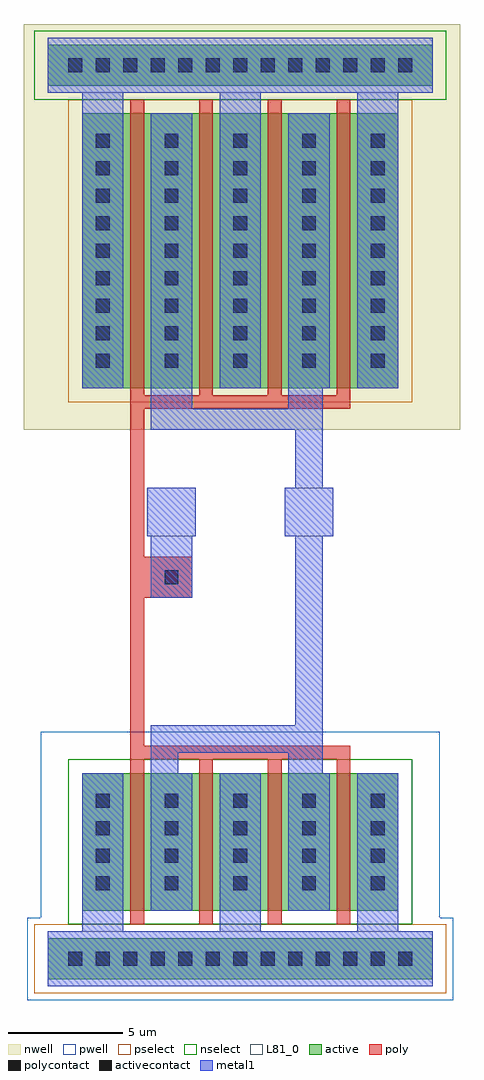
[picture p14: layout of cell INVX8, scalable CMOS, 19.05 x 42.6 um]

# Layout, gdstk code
import gdstk
lib = gdstk.Library(unit=1e-6, precision=1e-09)
def R(c, l, rs):  # rectangles x0, y0, x1, y1
    for r in rs: c.add(gdstk.rectangle(r[:2], r[2:], *l))
def A(c, l, x, y, w, h, nx, ny, dx, dy):  # array of equal rectangles
    R(c, l, [(x+i*dx, y+j*dy, x+i*dx+w, y+j*dy+h) for i in range(nx) for j in range(ny)])
pwell = (41, 0)
nwell = (42, 0)
active = (43, 0)
pselect = (44, 0)
nselect = (45, 0)
poly = (46, 0)
polycontact = (47, 0)
activecontact = (48, 0)
metal1 = (49, 0)
L81_0 = (81, 0)

invx8 = lib.new_cell('INVX8')
R(invx8, pwell, [(-1.8,-1.8,16.8,1.8), (-1.2,1.8,16.2,9.9)])
R(invx8, nwell, [(-1.95,23.1,17.1,40.8)])
R(invx8, active, [(-0.9,-0.9,15.9,0.9), (0.6,2.1,14.4,8.1), (0.6,24.9,14.4,36.9), (-0.9,38.1,15.9,39.9)])
R(invx8, pselect, [(-1.5,-1.5,16.5,1.5), (0,24.3,15,37.5)])
R(invx8, nselect, [(0,1.5,15,8.7), (-1.5,37.5,16.5,40.5)])
A(invx8, poly, 2.7, 1.5, 0.6, 7.2, 4, 1, 3, 0)
A(invx8, poly, 2.7, 24.6, 0.6, 12.9, 4, 1, 3, 0)
R(invx8, poly, [(2.7,8.7,12.3,9.3), (2.7,9.3,3.3,15.75), (2.7,15.75,5.4,17.55), (2.7,17.55,3.3,24), (2.7,24,12.3,24.6)])
R(invx8, polycontact, [(4.2,16.35,4.8,16.95)])
A(invx8, activecontact, 0, -0.3, 0.6, 0.6, 13, 2, 1.2, 39)
A(invx8, activecontact, 1.2, 3, 0.6, 0.6, 5, 4, 3, 1.2)
A(invx8, activecontact, 1.2, 25.8, 0.6, 0.6, 5, 9, 3, 1.2)
A(invx8, metal1, 0.6, 1.2, 1.8, 6.9, 3, 1, 6, 0)
A(invx8, metal1, 0.6, 24.9, 1.8, 12.9, 3, 1, 6, 0)
R(invx8, metal1, [(-0.9,-1.2,15.9,1.2), (3.6,2.1,5.4,8.1), (9.6,2.1,11.4,8.1), (3.6,8.1,4.8,9), (9.6,8.1,11.1,9), (3.6,9,11.1,10.2), (9.9,10.2,11.1,18.45), (3.6,15.75,5.4,18.45), (3.45,18.45,5.55,20.55), (9.45,18.45,11.55,20.55), (9.9,20.55,11.1,23.1), (3.6,23.1,11.1,24), (3.6,24,5.4,36.9), (9.6,24,11.1,24.9), (9.6,24.9,11.4,36.9), (-0.9,37.8,15.9,40.2)])
R(invx8, L81_0, [(-0.9,-1.2,15.9,1.2), (3.45,18.45,5.55,20.55), (9.45,18.45,11.55,20.55), (-0.9,37.8,15.9,40.2)])

lib.write_gds('INVX8.gds')
